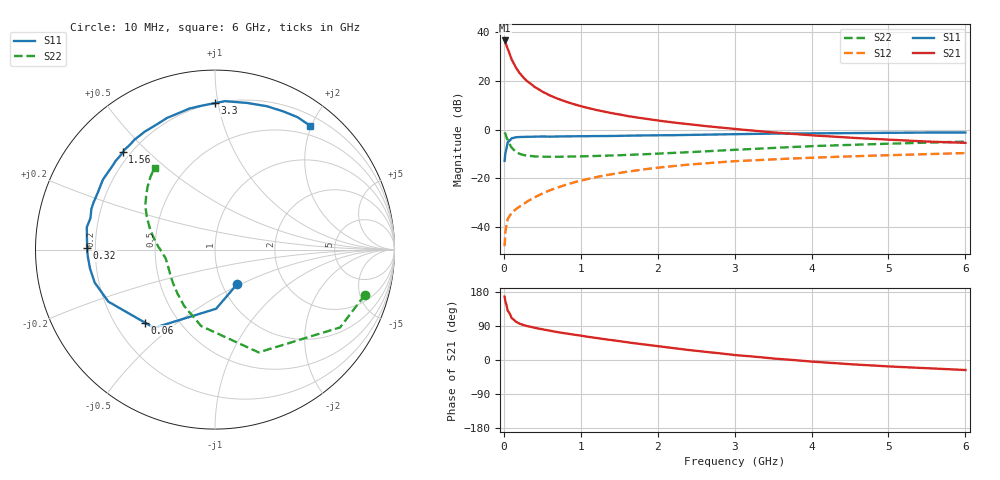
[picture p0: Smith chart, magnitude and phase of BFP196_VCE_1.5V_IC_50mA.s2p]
! Infineon Technologies  Discrete & RF Semiconductors
! BFP196
! VCE = 1.5 V,  IC =  50mA
! Common Emitter S-Parameters:  Jan 2016
# GHz  S  MA  R  50
!  f  S11  S21  S12  S22
! GHz  MAG  ANG  MAG  ANG  MAG  ANG  MAG  ANG
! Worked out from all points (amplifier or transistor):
!   210 points, 10 MHz to 6 GHz, reference 50 ohm
!   highest |S21| = 36.5 dB at 10 MHz (marker M1)
!   |S21| within 3 dB of that: start of sweep to 44.88 MHz
!   unconditionally stable (mu >= 1): 404.9 MHz to 4.927 GHz
!   at 185 MHz: K = 0.75, MSG = 28.0 dB, |S12| = -32.0 dB
!   at 1.52 GHz: K = 1.09, MAG = 10.1 dB, |S12| = -17.7 dB
!   at 6 GHz: K = 0.99, MSG = 2.1 dB, |S12| = -9.6 dB
!   S11 on the Smith chart (normalised r, x): 10 MHz: 1.17, -0.48; 60 MHz: 0.32, -0.39; 320 MHz: 0.17, +0.01; 1.56 GHz: 0.17, +0.42; 3.3 GHz: 0.20, +0.98; 6 GHz: 0.35, +1.98
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0.01  0.229 -57.8  66.76 167.2  0.0041 79.4  0.8725 -16.8
0.02  0.3295 -88.9  61.61 154.7  0.008 70.0  0.8207 -31.9
0.05  0.5527 -127.9  45.22 130.1  0.0147 53.2  0.622 -67.0
0.06  0.5639 -133.8  41.41 127.6  0.0156 51.9  0.5719 -71.8
0.1  0.6613 -154.0  27.49 110.9  0.0194 47.9  0.4328 -100.3
0.15  0.6952 -164.7  19.2 101.8  0.023 49.0  0.3576 -118.8
0.2  0.7044 -171.5  14.67 96.2  0.0262 51.7  0.3215 -130.7
0.24  0.7076 -175.1  12.34 93.3  0.029 54.0  0.3058 -137.8
0.3  0.7123 -179.5  9.865 89.6  0.0334 57.0  0.2932 -145.2
0.32  0.7126 179.3  9.381 88.9  0.0349 57.7  0.2905 -146.8
0.4  0.7169 174.6  7.463 85.0  0.0409 60.2  0.2822 -153.6
0.5  0.7251 170.1  5.979 81.0  0.0489 61.7  0.2781 -159.0
0.6  0.7157 165.8  4.982 77.2  0.0573 62.5  0.2771 -162.7
0.8  0.7258 158.5  3.755 70.3  0.0738 61.9  0.2787 -167.8
1.02  0.7311 150.6  2.959 63.6  0.0917 60.5  0.2828 -171.7
1.56  0.7475 133.5  1.957 48.1  0.1339 53.9  0.3012 -178.8
2.02  0.7648 120.4  1.521 36.1  0.167 47.2  0.3226 175.3
3.1  0.8071 94.1  0.996 11.5  0.229 31.1  0.3913 159.9
3.3  0.816 90.1  0.933 8.0  0.2376 28.3  0.4059 157.0
4.1  0.8382 76.0  0.746 -5.5  0.2687 18.3  0.4638 146.6
5.1  0.8602 62.6  0.611 -17.8  0.3021 7.0  0.5188 135.9
6  0.87 52.5  0.535 -26.4  0.3303 -2.9  0.5666 126.5
